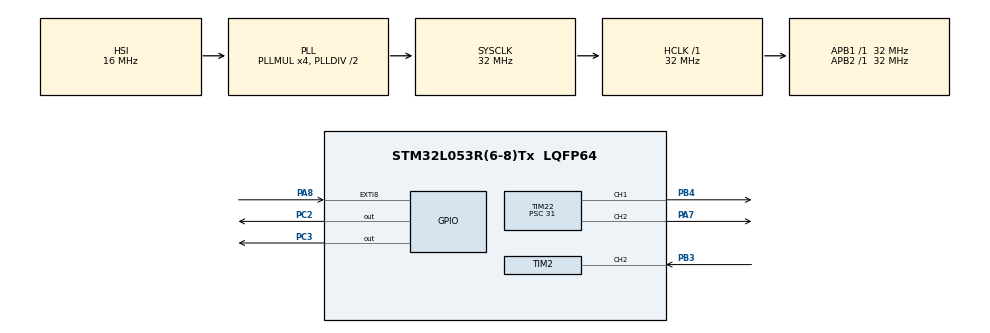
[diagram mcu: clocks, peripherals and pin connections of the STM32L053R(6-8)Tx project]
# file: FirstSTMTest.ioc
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Mcu.Family=STM32L0
Mcu.Name=STM32L053R(6-8)Tx
Mcu.Package=LQFP64
NVIC.EXTI4_15_IRQn=true\:2\:0\:true\:true\:true\:4\:true\:true
NVIC.TIM21_IRQn=true\:0\:0\:true\:true\:true\:1\:true\:true
NVIC.TIM22_IRQn=true\:0\:0\:false\:true\:true\:2\:true\:true
NVIC.TIM2_IRQn=true\:1\:0\:true\:true\:true\:3\:true\:true
PA13.Mode=Serial_Wire
PA13.Signal=SYS_SWDIO
PA14.Mode=Serial_Wire
PA14.Signal=SYS_SWCLK
PA7.Signal=S_TIM22_CH2
PA8.GPIO_ModeDefaultEXTI=GPIO_MODE_IT_RISING_FALLING
PA8.Signal=GPXTI8
PB3.GPIO_ModeDefaultPP=GPIO_MODE_AF_PP
PB3.GPIO_PuPd=GPIO_NOPULL
PB3.GPIO_Speed=GPIO_SPEED_FREQ_LOW
PB3.Signal=S_TIM2_CH2
PB4.Signal=S_TIM22_CH1
PC2.GPIO_Speed=GPIO_SPEED_FREQ_VERY_HIGH
PC2.Signal=GPIO_Output
PC3.GPIO_Speed=GPIO_SPEED_FREQ_VERY_HIGH
PC3.PinState=GPIO_PIN_RESET
PC3.Signal=GPIO_Output
ProjectManager.HeapSize=0x200
ProjectManager.StackSize=0x400
ProjectManager.TargetToolchain=STM32CubeIDE
RCC.AHBFreq_Value=32000000
RCC.APB1Freq_Value=32000000
RCC.APB1TimFreq_Value=32000000
RCC.APB2Freq_Value=32000000
RCC.APB2TimFreq_Value=32000000
RCC.HCLKFreq_Value=32000000
RCC.HSE_VALUE=8000000
RCC.HSI16_VALUE=16000000
RCC.HSI48_VALUE=48000000
RCC.HSI_VALUE=16000000
RCC.LSE_VALUE=32768
RCC.MSI_VALUE=2097000
RCC.PLLMUL=RCC_PLLMUL_4
RCC.SYSCLKFreq_VALUE=32000000
RCC.SYSCLKSource=RCC_SYSCLKSOURCE_PLLCLK
RCC.VCOOutputFreq_Value=64000000
SH.S_TIM22_CH1.0=TIM22_CH1,PWM Generation1 CH1
SH.S_TIM22_CH2.0=TIM22_CH2,PWM Generation2 CH2
SH.S_TIM2_CH2.0=TIM2_CH2,Input_Capture2_from_TI2
TIM2.AutoReloadPreload=TIM_AUTORELOAD_PRELOAD_ENABLE
TIM2.Channel-Input_Capture2_from_TI2=TIM_CHANNEL_2
TIM2.Period=65535
TIM2.Prescaler=43
TIM21.AutoReloadPreload=TIM_AUTORELOAD_PRELOAD_ENABLE
TIM21.Channel-Output\ Compare2\ No\ Output=TIM_CHANNEL_2
TIM21.Period=10000
TIM21.Prescaler=31
TIM22.AutoReloadPreload=TIM_AUTORELOAD_PRELOAD_ENABLE
TIM22.Channel-PWM\ Generation1\ CH1=TIM_CHANNEL_1
TIM22.Channel-PWM\ Generation2\ CH2=TIM_CHANNEL_2
TIM22.OCFastMode_PWM-PWM\ Generation1\ CH1=TIM_OCFAST_ENABLE
TIM22.OCFastMode_PWM-PWM\ Generation2\ CH2=TIM_OCFAST_ENABLE
TIM22.OCMode_PWM-PWM\ Generation2\ CH2=TIM_OCMODE_PWM1
TIM22.OCPolarity_1=TIM_OCPOLARITY_LOW
TIM22.OCPolarity_2=TIM_OCPOLARITY_LOW
TIM22.Period=10
TIM22.Prescaler=31
TIM22.Pulse-PWM\ Generation1\ CH1=100
TIM22.Pulse-PWM\ Generation2\ CH2=100
TIM22.TIM_MasterOutputTrigger=TIM_TRGO_UPDATE
VP_TIM21_VS_ClockSourceINT.Mode=Internal
VP_TIM21_VS_no_output2.Mode=Output Compare2 No Output
VP_TIM22_VS_ClockSourceINT.Mode=Internal
VP_TIM22_VS_OPM.Mode=OPM_bit
VP_TIM2_VS_ClockSourceINT.Mode=Internal
board=custom

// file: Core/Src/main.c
/* USER CODE BEGIN Header */
/**
  ******************************************************************************
  * @file           : main.c
  * @brief          : Main program body
  ******************************************************************************
  * @attention
  *
  * <h2><center>&copy; Copyright (c) 2020 STMicroelectronics.
  * All rights reserved.</center></h2>
  *
  * This software component is licensed by ST under BSD 3-Clause license,
  * the "License"; You may not use this file except in compliance with the
  * License. You may obtain a copy of the License at:
  *                        opensource.org/licenses/BSD-3-Clause
  *
  ******************************************************************************
  */
/* USER CODE END Header */
#include "main.h"

/* USER CODE BEGIN Includes */
#include <string.h>
#include <stdio.h>
#include "interruptConfig.h"
#include "ignition.h"
#include "crankshaft.h"
/* USER CODE END Includes */

/* USER CODE BEGIN PD */

int triggerTooth;
float triggerAngle;
float delayAngle;
uint32_t timeToIgnition;
/* USER CODE END PD */

TIM_HandleTypeDef htim2;
TIM_HandleTypeDef htim21;
TIM_HandleTypeDef htim22;

/* USER CODE BEGIN PV */
uint32_t captures[2];
volatile uint8_t captureDone = 0;
//volatile float frequency = 0;
//volatile float period = 0;

uint16_t count = 0;

uint32_t diffCapture = 0;

__IO uint32_t IgniteDwellTime = 1000;
uint8_t Crank_HalfCycleFlag = 0;
int angleToIgnite = 120;
int currentToothAngle = 0;
// HAL GEBER DECLARATIONS
//uint32_t CrankShaftFreqHz = 0;
//uint32_t *pCrankShaftFreqHz = &crankShaftFreqHz;

//int adcVal;
/* USER CODE END PV */

void SystemClock_Config(void);
static void MX_GPIO_Init(void);
static void MX_TIM2_Init(void);
static void MX_TIM22_Init(void);
static void MX_TIM21_Init(void);
static void MX_NVIC_Init(void);

int main(void)
{

  /* MCU Configuration--------------------------------------------------------*/

  /* Reset of all peripherals, Initializes the Flash interface and the Systick. */
  HAL_Init();

  /* Configure the system clock */
  SystemClock_Config();

  /* Initialize all configured peripherals */
  MX_GPIO_Init();
  MX_TIM2_Init();
  MX_TIM22_Init();
  MX_TIM21_Init();

  /* Initialize interrupts */
  MX_NVIC_Init();
  /* USER CODE BEGIN 2 */

  // Start all TIM channels and Interrupts related to TIM
  HAL_TIM_OnePulse_Start_IT(&htim22, TIM_CHANNEL_1);
  //HAL_TIM_OnePulse_Start_IT(&htim22, TIM_CHANNEL_2);
  HAL_TIM_Base_Start_IT(&htim22);

  /*
  //HAL_TIM_IC_Start_DMA(&htim2,	 HAL_TIM_ACTIVE_CHANNEL_2,	 (uint32_t*)	 captures,	 2);
  //HAL_TIM_Base_Start_IT(&htim2);
  //HAL_TIM_Base_Start_IT(&htim21);
   */

  HAL_TIM_Base_Start_IT(&htim21);
  HAL_TIM_IC_Start_IT(&htim2, TIM_CHANNEL_2);
  HAL_TIM_OC_Start_IT(&htim21, TIM_CHANNEL_2);

  HAL_Delay(500);

  /* All module Inits */
  Crank_Init();

  /* USER CODE END 2 */

  /* Infinite loop */
  while (1)
  {

    /* USER CODE BEGIN 3 */
	  //Ignition_SetIgnitionTiming(10,20,30);

    }
  /* USER CODE END 3 */
}

void SystemClock_Config(void)
{
  RCC_OscInitTypeDef RCC_OscInitStruct = {0};
  RCC_ClkInitTypeDef RCC_ClkInitStruct = {0};

  /** Configure the main internal regulator output voltage
  */
  __HAL_PWR_VOLTAGESCALING_CONFIG(PWR_REGULATOR_VOLTAGE_SCALE1);
  /** Initializes the RCC Oscillators according to the specified parameters
  * in the RCC_OscInitTypeDef structure.
  */
  RCC_OscInitStruct.OscillatorType = RCC_OSCILLATORTYPE_HSI;
  RCC_OscInitStruct.HSIState = RCC_HSI_ON;
  RCC_OscInitStruct.HSICalibrationValue = RCC_HSICALIBRATION_DEFAULT;
  RCC_OscInitStruct.PLL.PLLState = RCC_PLL_ON;
  RCC_OscInitStruct.PLL.PLLSource = RCC_PLLSOURCE_HSI;
  RCC_OscInitStruct.PLL.PLLMUL = RCC_PLLMUL_4;
  RCC_OscInitStruct.PLL.PLLDIV = RCC_PLLDIV_2;
  if (HAL_RCC_OscConfig(&RCC_OscInitStruct) != HAL_OK)
  {
    Error_Handler();
  }
  /** Initializes the CPU, AHB and APB buses clocks
  */
  RCC_ClkInitStruct.ClockType = RCC_CLOCKTYPE_HCLK|RCC_CLOCKTYPE_SYSCLK
                              |RCC_CLOCKTYPE_PCLK1|RCC_CLOCKTYPE_PCLK2;
  RCC_ClkInitStruct.SYSCLKSource = RCC_SYSCLKSOURCE_PLLCLK;
  RCC_ClkInitStruct.AHBCLKDivider = RCC_SYSCLK_DIV1;
  RCC_ClkInitStruct.APB1CLKDivider = RCC_HCLK_DIV1;
  RCC_ClkInitStruct.APB2CLKDivider = RCC_HCLK_DIV1;

  if (HAL_RCC_ClockConfig(&RCC_ClkInitStruct, FLASH_LATENCY_1) != HAL_OK)
  {
    Error_Handler();
  }
}

/**
  * @brief NVIC Configuration.
  * @retval None
  */
static void MX_NVIC_Init(void)
{
  /* TIM21_IRQn interrupt configuration */
  HAL_NVIC_SetPriority(TIM21_IRQn, 0, 0);
  HAL_NVIC_EnableIRQ(TIM21_IRQn);
  /* TIM22_IRQn interrupt configuration */
  HAL_NVIC_SetPriority(TIM22_IRQn, 0, 0);
  HAL_NVIC_EnableIRQ(TIM22_IRQn);
  /* TIM2_IRQn interrupt configuration */
  HAL_NVIC_SetPriority(TIM2_IRQn, 1, 0);
  HAL_NVIC_EnableIRQ(TIM2_IRQn);
  /* EXTI4_15_IRQn interrupt configuration */
  HAL_NVIC_SetPriority(EXTI4_15_IRQn, 2, 0);
  HAL_NVIC_EnableIRQ(EXTI4_15_IRQn);
}

static void MX_TIM2_Init(void)
{

  TIM_ClockConfigTypeDef sClockSourceConfig = {0};
  TIM_MasterConfigTypeDef sMasterConfig = {0};
  TIM_IC_InitTypeDef sConfigIC = {0};

  htim2.Instance = TIM2;
  htim2.Init.Prescaler = 43;
  htim2.Init.CounterMode = TIM_COUNTERMODE_UP;
  htim2.Init.Period = 65535;
  htim2.Init.ClockDivision = TIM_CLOCKDIVISION_DIV1;
  htim2.Init.AutoReloadPreload = TIM_AUTORELOAD_PRELOAD_ENABLE;
  if (HAL_TIM_Base_Init(&htim2) != HAL_OK)
  {
    Error_Handler();
  }
  sClockSourceConfig.ClockSource = TIM_CLOCKSOURCE_INTERNAL;
  if (HAL_TIM_ConfigClockSource(&htim2, &sClockSourceConfig) != HAL_OK)
  {
    Error_Handler();
  }
  if (HAL_TIM_IC_Init(&htim2) != HAL_OK)
  {
    Error_Handler();
  }
  sMasterConfig.MasterOutputTrigger = TIM_TRGO_RESET;
  sMasterConfig.MasterSlaveMode = TIM_MASTERSLAVEMODE_DISABLE;
  if (HAL_TIMEx_MasterConfigSynchronization(&htim2, &sMasterConfig) != HAL_OK)
  {
    Error_Handler();
  }
  sConfigIC.ICPolarity = TIM_INPUTCHANNELPOLARITY_RISING;
  sConfigIC.ICSelection = TIM_ICSELECTION_DIRECTTI;
  sConfigIC.ICPrescaler = TIM_ICPSC_DIV1;
  sConfigIC.ICFilter = 0;
  if (HAL_TIM_IC_ConfigChannel(&htim2, &sConfigIC, TIM_CHANNEL_2) != HAL_OK)
  {
    Error_Handler();
  }

}

static void MX_TIM21_Init(void)
{

  TIM_ClockConfigTypeDef sClockSourceConfig = {0};
  TIM_MasterConfigTypeDef sMasterConfig = {0};
  TIM_OC_InitTypeDef sConfigOC = {0};

  htim21.Instance = TIM21;
  htim21.Init.Prescaler = 31;
  htim21.Init.CounterMode = TIM_COUNTERMODE_UP;
  htim21.Init.Period = 10000;
  htim21.Init.ClockDivision = TIM_CLOCKDIVISION_DIV1;
  htim21.Init.AutoReloadPreload = TIM_AUTORELOAD_PRELOAD_ENABLE;
  if (HAL_TIM_Base_Init(&htim21) != HAL_OK)
  {
    Error_Handler();
  }
  sClockSourceConfig.ClockSource = TIM_CLOCKSOURCE_INTERNAL;
  if (HAL_TIM_ConfigClockSource(&htim21, &sClockSourceConfig) != HAL_OK)
  {
    Error_Handler();
  }
  if (HAL_TIM_OC_Init(&htim21) != HAL_OK)
  {
    Error_Handler();
  }
  sMasterConfig.MasterOutputTrigger = TIM_TRGO_RESET;
  sMasterConfig.MasterSlaveMode = TIM_MASTERSLAVEMODE_DISABLE;
  if (HAL_TIMEx_MasterConfigSynchronization(&htim21, &sMasterConfig) != HAL_OK)
  {
    Error_Handler();
  }
  sConfigOC.OCMode = TIM_OCMODE_TIMING;
  sConfigOC.Pulse = 0;
  sConfigOC.OCPolarity = TIM_OCPOLARITY_HIGH;
  sConfigOC.OCFastMode = TIM_OCFAST_DISABLE;
  if (HAL_TIM_OC_ConfigChannel(&htim21, &sConfigOC, TIM_CHANNEL_2) != HAL_OK)
  {
    Error_Handler();
  }

}

static void MX_TIM22_Init(void)
{

  TIM_ClockConfigTypeDef sClockSourceConfig = {0};
  TIM_MasterConfigTypeDef sMasterConfig = {0};
  TIM_OC_InitTypeDef sConfigOC = {0};

  htim22.Instance = TIM22;
  htim22.Init.Prescaler = 31;
  htim22.Init.CounterMode = TIM_COUNTERMODE_UP;
  htim22.Init.Period = 10;
  htim22.Init.ClockDivision = TIM_CLOCKDIVISION_DIV1;
  htim22.Init.AutoReloadPreload = TIM_AUTORELOAD_PRELOAD_ENABLE;
  if (HAL_TIM_Base_Init(&htim22) != HAL_OK)
  {
    Error_Handler();
  }
  sClockSourceConfig.ClockSource = TIM_CLOCKSOURCE_INTERNAL;
  if (HAL_TIM_ConfigClockSource(&htim22, &sClockSourceConfig) != HAL_OK)
  {
    Error_Handler();
  }
  if (HAL_TIM_PWM_Init(&htim22) != HAL_OK)
  {
    Error_Handler();
  }
  if (HAL_TIM_OnePulse_Init(&htim22, TIM_OPMODE_SINGLE) != HAL_OK)
  {
    Error_Handler();
  }
  sMasterConfig.MasterOutputTrigger = TIM_TRGO_UPDATE;
  sMasterConfig.MasterSlaveMode = TIM_MASTERSLAVEMODE_DISABLE;
  if (HAL_TIMEx_MasterConfigSynchronization(&htim22, &sMasterConfig) != HAL_OK)
  {
    Error_Handler();
  }
  sConfigOC.OCMode = TIM_OCMODE_PWM1;
  sConfigOC.Pulse = 100;
  sConfigOC.OCPolarity = TIM_OCPOLARITY_LOW;
  sConfigOC.OCFastMode = TIM_OCFAST_ENABLE;
  if (HAL_TIM_PWM_ConfigChannel(&htim22, &sConfigOC, TIM_CHANNEL_1) != HAL_OK)
  {
    Error_Handler();
  }
  if (HAL_TIM_PWM_ConfigChannel(&htim22, &sConfigOC, TIM_CHANNEL_2) != HAL_OK)
  {
    Error_Handler();
  }
  /* USER CODE BEGIN TIM22_Init 2 */
  //__HAL_TIM_ENABLE(&htim22);
  /* USER CODE END TIM22_Init 2 */
  HAL_TIM_MspPostInit(&htim22);

}

static void MX_GPIO_Init(void)
{  GPIO_InitTypeDef GPIO_InitStruct = {0};

  /* GPIO Ports Clock Enable */
  __HAL_RCC_GPIOC_CLK_ENABLE();
  __HAL_RCC_GPIOA_CLK_ENABLE();
  __HAL_RCC_GPIOB_CLK_ENABLE();

  /*Configure GPIO pin Output Level */
  HAL_GPIO_WritePin(GPIOC, GPIO_PIN_2|GPIO_PIN_3, GPIO_PIN_RESET);

  /*Configure GPIO pins : PC2 PC3 */
  GPIO_InitStruct.Pin = GPIO_PIN_2|GPIO_PIN_3;
  GPIO_InitStruct.Mode = GPIO_MODE_OUTPUT_PP;
  GPIO_InitStruct.Pull = GPIO_NOPULL;
  GPIO_InitStruct.Speed = GPIO_SPEED_FREQ_VERY_HIGH;
  HAL_GPIO_Init(GPIOC, &GPIO_InitStruct);

  /*Configure GPIO pin : PA8 */
  GPIO_InitStruct.Pin = GPIO_PIN_8;
  GPIO_InitStruct.Mode = GPIO_MODE_IT_RISING_FALLING;
  GPIO_InitStruct.Pull = GPIO_NOPULL;
  HAL_GPIO_Init(GPIOA, &GPIO_InitStruct);

}

/* USER CODE BEGIN 4 */
float angleOfIgnition = 120;
float tempAngle = 0;

void Scheduler_10ms(){
	// Call all 10ms related functions
	//HAL_GPIO_TogglePin(GPIOC,GPIO_PIN_3);
	IgniteDwellTime = 1000;
	//TIM22->CCR1 = dwellTime;
	//TIM22->ARR = 2500;
	// angle to spark has to be small enough to fit in the speed but large enough to allow dwell
	// dwell time around 2ms, means that one halfCycle is limited to min 2ms, which is 4ms for one crankshaft rotation which is 250hz with current method (works with 180hz and 130 degrees)
	tempAngle = tempAngle + 0.1;
	angleOfIgnition = tempAngle;

	angleOfIgnition = 120;

	if (tempAngle >= 90){
		tempAngle = 0;
	}

	Ignition_SetIgnitionTiming(1,20,Crank_ShaftFreqHz,Crank_TeethNmbr_P,Crank_MissingTeethNmbr_P);
	Ignition_SetIgnitionTiming(3,130,Crank_ShaftFreqHz,Crank_TeethNmbr_P,Crank_MissingTeethNmbr_P);

	//Ignition_SetIgnitionTiming(2000,angleToIgnite,Crank_ShaftFreqHz);
	//TIM22->CR1 |= TIM_CR1_CEN;
	if (IgniteDwellTime >= 2000)
	  IgniteDwellTime = 1000;
	else
	  IgniteDwellTime = IgniteDwellTime +1;

	//HAL_Delay(100);
	if (angleToIgnite >= 120){
	  angleToIgnite = 80;
	}
	else
	  angleToIgnite = angleToIgnite + 1;
	angleToIgnite = 120;
}

void HAL_TIM_PWM_PulseFinishedCallback(TIM_HandleTypeDef *htim){
	if(htim == &htim22){
		// Ignition OPM TIM Channels
		if(htim->Channel == HAL_TIM_ACTIVE_CHANNEL_1){

			// Cylinder 1
			if (Ignition_CoilStateCyl1 == DWELL){
				//GPIOC->BSRR = GPIO_PIN_3;
				HAL_GPIO_WritePin(GPIOC,GPIO_PIN_3,GPIO_PIN_SET);
			}
			if (Ignition_CoilStateCyl1 == FIRE){
				//GPIOC->BRR = GPIO_PIN_3;
				HAL_GPIO_WritePin(GPIOC,GPIO_PIN_3,GPIO_PIN_RESET);
			}

			// Cylinder 3
			if (Ignition_CoilStateCyl3 == DWELL){
				//GPIOC->BSRR = GPIO_PIN_3; // TODO use different pin in future . the one that corresponds cyl3
				HAL_GPIO_WritePin(GPIOC,GPIO_PIN_2,GPIO_PIN_SET);
			}
			if (Ignition_CoilStateCyl3 == FIRE){
				//GPIOC->BRR = GPIO_PIN_3;; // TODO use different pin in future . the one that corresponds cyl3
				HAL_GPIO_WritePin(GPIOC,GPIO_PIN_2,GPIO_PIN_RESET);
			}

		}
		if(htim->Channel == HAL_TIM_ACTIVE_CHANNEL_2){
			//HAL_GPIO_WritePin(GPIOC,GPIO_PIN_3,GPIO_PIN_SET);
		}
		//HAL_GPIO_TogglePin(GPIOC,GPIO_PIN_3);

	}
}

void HAL_GPIO_EXTI_Callback(uint16_t GPIO_Pin){
	//HAL_GPIO_TogglePin(GPIOC,GPIO_PIN_3);
	//HAL_GPIO_WritePin(GPIOC,GPIO_PIN_3,GPIO_PIN_RESET);
	if (GPIO_Pin == GPIO_PIN_8){
		if(HAL_GPIO_ReadPin(GPIOA, GPIO_PIN_8))
			Cam_CycleStart = 1;
		else
			Cam_CycleStart = 0;
	}else{
		__NOP();
	}
}

void HAL_TIM_PeriodElapsedCallback(TIM_HandleTypeDef *htim)
{
	if(htim == &htim21){
		// Call the 10ms task
		Scheduler_10ms();
	}else{
		__NOP();
	}

}

void HAL_TIM_IC_CaptureCallback( TIM_HandleTypeDef *htim ){

	if(htim == &htim2){
		if(htim->Channel == HAL_TIM_ACTIVE_CHANNEL_2 ){
			//HAL_GPIO_TogglePin(GPIOC,GPIO_PIN_3);
			// Ignite before halgeber driver, if the tooth is fine. There is huge delay (30-40us) in high speed9:
			Crank_AngleCalc(); // roughly 10us computation time

			//Cam_HalGeberDriver(####);

			Crank_CamPositionSync();

			Crank_HalfCycleFlag = 0; // every reset of the crankshaft (initial value) is start of a new cycle. halfCycle == 1 when we are in the 2nd part of camshaft rotation.
			//htim2->Instance->CR1 = 1000;
			//htim2.Instance->CR1 = 1000;

			if (Crank_TeethCount == 1){
				Ignition_StartTimerDwellCylinder(1,10);
				//Ignition_FireCylinder(1);
			}

			if (Crank_TeethCount == Ignition_FireToothCyl1){
				//HAL_GPIO_WritePin(GPIOC,GPIO_PIN_3,GPIO_PIN_SET);
				Ignition_StartTimerFireCylinder(1);
			}

			if (Crank_TeethCount == 6){
				Ignition_StartTimerDwellCylinder(3,10);
				//Ignition_FireCylinder(1);
			}

			if (Crank_TeethCount == Ignition_FireToothCyl3){
				//HAL_GPIO_WritePin(GPIOC,GPIO_PIN_3,GPIO_PIN_SET);
				Ignition_StartTimerFireCylinder(3);
			}

			/*
			if (Crank_TeethCount == 15){
				//TIM22->CR1 |= TIM_CR1_CEN;
				if (Crank_HalfCycleFlag == 0){
					Ignition_FireCylinder(3,timeToIgnition);
				}
				else{
					//Ignition_FireCylinderB(4);
				}
			}*/

			Crank_HalGeberDriver(&htim2);
		}
	}else{
		__NOP();
	}
}

/* USER CODE END 4 */

void Error_Handler(void)
{
}

/************************ (C) COPYRIGHT STMicroelectronics *****END OF FILE****/
